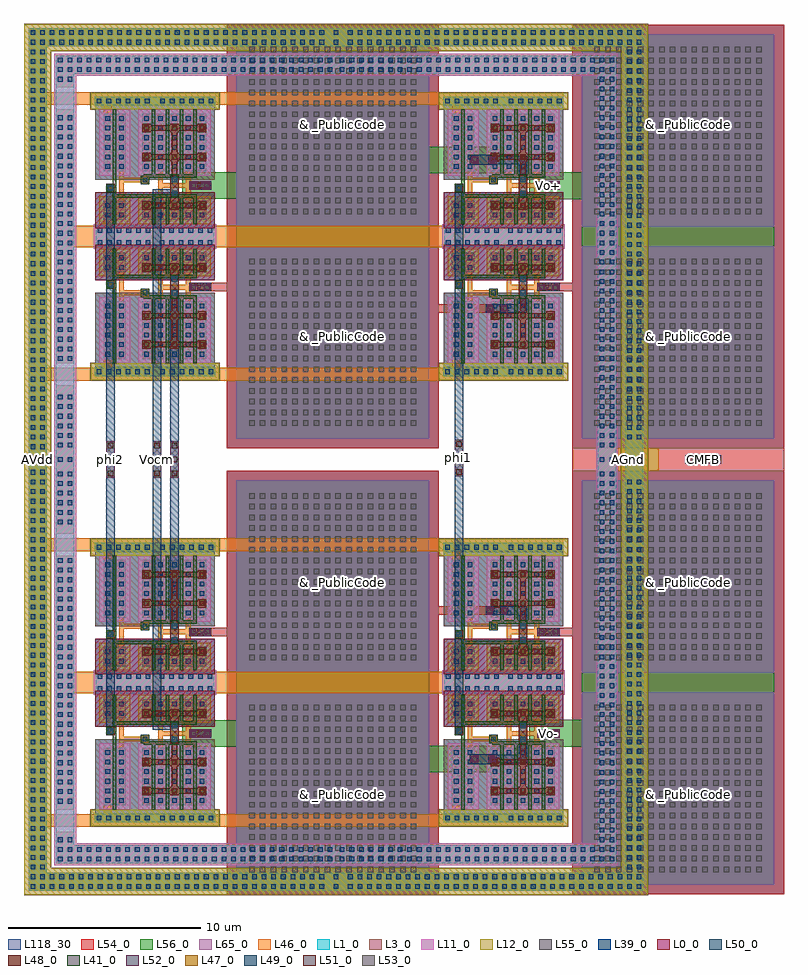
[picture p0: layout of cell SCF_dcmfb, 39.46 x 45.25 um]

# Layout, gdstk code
import gdstk
lib = gdstk.Library(unit=1e-6, precision=1e-09)
def R(c, l, rs):  # rectangles x0, y0, x1, y1
    for r in rs: c.add(gdstk.rectangle(r[:2], r[2:], *l))
def A(c, l, x, y, w, h, nx, ny, dx, dy):  # array of equal rectangles
    R(c, l, [(x+i*dx, y+j*dy, x+i*dx+w, y+j*dy+h) for i in range(nx) for j in range(ny)])
def P(c, l, *ps):  # polygons
    for p in ps: c.add(gdstk.Polygon(p, *l))
L0_0 = (0, 0)
L1_0 = (1, 0)
L3_0 = (3, 0)
L11_0 = (11, 0)
L12_0 = (12, 0)
L39_0 = (39, 0)
L41_0 = (41, 0)
L46_0 = (46, 0)
L47_0 = (47, 0)
L48_0 = (48, 0)
L49_0 = (49, 0)
L50_0 = (50, 0)
L51_0 = (51, 0)
L52_0 = (52, 0)
L53_0 = (53, 0)
L54_0 = (54, 0)
L55_0 = (55, 0)
L56_0 = (56, 0)
L65_0 = (65, 0)
L118_30 = (118, 30)

m1m2 = lib.new_cell('M1M2')
R(m1m2, L46_0, [(-0.22,-0.22,0.22,0.22)])
R(m1m2, L47_0, [(-0.14,-0.14,0.14,0.14)])
R(m1m2, L48_0, [(-0.22,-0.22,0.22,0.22)])

mpoly = lib.new_cell('MPOLY')
R(mpoly, L39_0, [(-0.12,-0.12,0.12,0.12)])
R(mpoly, L41_0, [(-0.22,-0.22,0.22,0.22)])
R(mpoly, L46_0, [(-0.2,-0.2,0.2,0.2)])

m2m3 = lib.new_cell('M2M3')
R(m2m3, L48_0, [(-0.22,-0.22,0.22,0.22)])
R(m2m3, L49_0, [(-0.14,-0.14,0.14,0.14)])
R(m2m3, L50_0, [(-0.22,-0.22,0.22,0.22)])

switch_x4 = lib.new_cell('switch_X4')
R(switch_x4, L0_0, [(-0.46,-1.87,1.56,-0.01), (1.56,-1.87,5.74,-0.01)])
R(switch_x4, L1_0, [(-0.44,-2.2,5.72,-1.76), (-0.03,-1.44,1.13,-0.44), (-0.03,-1.44,0.46,-0.44), (0.64,-1.44,1.13,-0.44), (1.99,-1.44,2.48,-0.44), (1.99,-1.44,5.31,-0.44), (4.82,-1.44,5.31,-0.44), (-0.03,1.07,0.46,4.07), (-0.03,1.07,1.13,4.07), (0.64,1.07,1.13,4.07), (1.99,1.07,5.31,4.07), (1.99,1.07,2.48,4.07), (4.82,1.07,5.31,4.07), (-0.48,4.51,5.76,4.95)])
R(switch_x4, L3_0, [(-0.46,0.64,1.56,4.5), (1.56,0.64,5.74,4.5), (-0.72,4.27,6,5.19)])
R(switch_x4, L11_0, [(-0.54,-2.3,5.82,-1.66), (-0.25,0.85,1.35,4.29), (1.77,0.85,5.53,4.29)])
R(switch_x4, L12_0, [(-0.25,-1.66,1.35,-0.22), (1.77,-1.66,5.53,-0.22), (-0.7,4.29,5.98,5.17)])
A(switch_x4, L39_0, -0.34, -2.1, 0.24, 0.24, 6, 1, 0.5, 0)
A(switch_x4, L39_0, 2.88, -2.1, 0.24, 0.24, 6, 1, 0.5, 0)
A(switch_x4, L39_0, 2.09, -1.31, 0.24, 0.24, 5, 2, 0.72, 0.5)
A(switch_x4, L39_0, 0.07, 1.2, 0.24, 0.24, 1, 6, 0, 0.5)
A(switch_x4, L39_0, 0.79, 1.2, 0.24, 0.24, 1, 6, 0, 0.5)
A(switch_x4, L39_0, 2.09, 1.2, 0.24, 0.24, 5, 6, 0.72, 0.5)
A(switch_x4, L39_0, -0.38, 4.61, 0.24, 0.24, 6, 1, 0.5, 0)
A(switch_x4, L39_0, 2.92, 4.61, 0.24, 0.24, 6, 1, 0.5, 0)
R(switch_x4, L39_0, [(0.07,-1.31,0.31,-1.07), (0.79,-1.31,1.03,-1.07), (0.07,-0.81,0.31,-0.57), (0.79,-0.81,1.03,-0.57)])
A(switch_x4, L41_0, 2.48, -1.66, 0.18, 0.22, 4, 2, 0.72, 1.22)
A(switch_x4, L41_0, 2.48, -1.44, 0.18, 1, 4, 1, 0.72, 0)
A(switch_x4, L41_0, 2.48, 0.85, 0.18, 0.22, 4, 2, 0.72, 3.22)
A(switch_x4, L41_0, 2.48, 1.07, 0.18, 3, 4, 1, 0.72, 0)
R(switch_x4, L41_0, [(0.46,-1.66,0.64,-1.44), (0.46,-1.44,0.64,-0.44), (0.46,-0.44,0.64,-0.22), (0.46,-0.4,0.64,-0.12), (0.46,-0.3,2.66,-0.12), (0.46,-0.3,0.64,1.03), (0.46,0.85,0.64,1.07), (0.46,1.07,0.64,4.07), (0.46,4.07,0.64,4.29)])
P(switch_x4, L41_0, [(3.92,-0.3),(4.64,-0.3),(4.64,-0.4),(4.82,-0.4),(4.82,-0.12),(3.92,-0.12)],
  [(2.48,0.75),(3.38,0.75),(3.38,1.03),(3.2,1.03),(3.2,0.93),(2.66,0.93),(2.66,1.03),(2.48,1.03)],
  [(3.2,0.75),(4.1,0.75),(4.1,1.03),(3.92,1.03),(3.92,0.93),(3.2,0.93)],
  [(3.92,0.75),(4.82,0.75),(4.82,1.03),(4.64,1.03),(4.64,0.93),(3.92,0.93)],
  [(2.48,-0.4),(2.66,-0.4),(2.66,-0.3),(3.2,-0.3),(3.2,-0.4),(3.38,-0.4),(3.38,-0.12),(2.48,-0.12)],
  [(3.2,-0.3),(3.92,-0.3),(3.92,-0.4),(4.1,-0.4),(4.1,-0.12),(3.2,-0.12)],
  [(2.03,0.54),(2.24,0.54),(2.24,0.75),(2.66,0.75),(2.66,0.93),(2.06,0.93),(2.06,0.72),(2.03,0.72)])
A(switch_x4, L46_0, 2.01, -1.39, 0.4, 0.9, 5, 1, 0.72, 0)
A(switch_x4, L46_0, 2.01, 1.12, 0.4, 2.9, 5, 1, 0.72, 0)
R(switch_x4, L46_0, [(-0.46,-2.3,5.74,-1.74), (-0.46,-2.22,5.74,-1.74), (-0.01,-2.14,0.39,-0.99), (-0.01,-1.39,0.39,-0.49), (0.71,-1.39,1.11,-0.49), (0.79,-0.73,1.03,0.75), (2.81,-0.73,3.05,0.46), (4.25,-0.73,4.49,0.46), (2.81,0.22,3.05,1.36), (2.81,0.22,4.49,0.46), (4.25,0.22,4.75,0.46), (4.25,0.22,4.49,1.36), (0.79,0.51,2.24,0.75), (0.79,0.51,1.03,1.36), (-0.01,1.12,0.39,4.02), (0.71,1.12,1.11,4.02), (-0.01,3.62,0.39,4.93), (-0.46,4.53,5.74,4.93), (-0.46,4.53,5.74,5.19)])
R(switch_x4, L48_0, [(2.07,-0.83,3.79,-0.55), (3.51,-0.83,5.23,-0.55), (3.51,-0.83,3.79,1.96), (3.43,-0.47,3.51,-0.3), (3.79,-0.47,3.87,-0.3), (3.43,0.14,3.87,0.42), (4.49,0.2,5.49,0.48), (2.07,1.68,3.79,1.96), (3.51,1.68,5.23,1.96), (3.51,1.68,3.79,3.46), (2.07,3.18,3.79,3.46), (3.51,3.18,5.23,3.46)])
R(switch_x4, L50_0, [(3.43,-0.3,3.87,0.86), (0.11,-0.01,0.55,0.43), (4.41,0.12,5.57,0.56)])
R(switch_x4, L118_30, [(-0.46,-1.87,1.56,-0.01), (1.56,-1.87,5.74,-0.01), (-0.46,0.64,1.56,4.5), (1.56,0.64,5.74,4.5)])
switch_x4.add(gdstk.Reference(m1m2, (3.65,1.82)))
switch_x4.add(gdstk.Reference(m1m2, (2.21,1.82)))
switch_x4.add(gdstk.Reference(m1m2, (5.09,1.82)))
switch_x4.add(gdstk.Reference(m1m2, (3.65,3.32)))
switch_x4.add(gdstk.Reference(mpoly, (2.12,0.63)))
switch_x4.add(gdstk.Reference(m1m2, (2.21,-0.69)))
switch_x4.add(gdstk.Reference(m1m2, (3.65,-0.69)))
switch_x4.add(gdstk.Reference(m1m2, (5.09,-0.69)))
switch_x4.add(gdstk.Reference(m1m2, (2.21,3.32)))
switch_x4.add(gdstk.Reference(m1m2, (5.09,3.32)))
switch_x4.add(gdstk.Reference(mpoly, (0.33,0.21)))
switch_x4.add(gdstk.Reference(m2m3, (0.33,0.21)))
switch_x4.add(gdstk.Reference(m1m2, (0.33,0.21)))
switch_x4.add(gdstk.Reference(m2m3, (3.65,0.64)))
switch_x4.add(gdstk.Reference(m2m3, (3.65,-0.08)))
switch_x4.add(gdstk.Reference(m1m2, (4.63,0.34)))
switch_x4.add(gdstk.Reference(m2m3, (4.63,0.34)))
switch_x4.add(gdstk.Reference(m2m3, (5.35,0.34)))
switch_x4.add(gdstk.Label('/M12', (2.57,2.57), layer=85, texttype=0))
switch_x4.add(gdstk.Label('/M12', (3.29,2.57), layer=85, texttype=0))
switch_x4.add(gdstk.Label('/M12', (4.01,2.57), layer=85, texttype=0))
switch_x4.add(gdstk.Label('/M12', (4.73,2.57), layer=85, texttype=0))
switch_x4.add(gdstk.Label('& Vendor Mentor', (1.99,1.07), layer=63, texttype=63))
switch_x4.add(gdstk.Label('& Product UMC180FDKMFM', (1.99,1.07), layer=63, texttype=63))
switch_x4.add(gdstk.Label('& Version A01', (1.99,1.07), layer=63, texttype=63))
switch_x4.add(gdstk.Label('& Metric 0', (1.99,1.07), layer=63, texttype=63))
switch_x4.add(gdstk.Label('& _PublicCode', (1.99,1.07), layer=63, texttype=63))
switch_x4.add(gdstk.Label('/M2', (0.55,2.57), layer=85, texttype=0))
switch_x4.add(gdstk.Label('& Vendor Mentor', (-0.03,1.07), layer=63, texttype=63))
switch_x4.add(gdstk.Label('& Product UMC180FDKMFM', (-0.03,1.07), layer=63, texttype=63))
switch_x4.add(gdstk.Label('& Version A01', (-0.03,1.07), layer=63, texttype=63))
switch_x4.add(gdstk.Label('& Metric 0', (-0.03,1.07), layer=63, texttype=63))
switch_x4.add(gdstk.Label('& _PublicCode', (-0.03,1.07), layer=63, texttype=63))
switch_x4.add(gdstk.Label('& _PublicCode', (-0.03,-1.44), layer=63, texttype=63))
switch_x4.add(gdstk.Label('/M1', (0.55,-0.94), layer=85, texttype=0))
switch_x4.add(gdstk.Label('& Vendor Mentor', (-0.03,-1.44), layer=63, texttype=63))
switch_x4.add(gdstk.Label('& Product UMC180FDKMFM', (-0.03,-1.44), layer=63, texttype=63))
switch_x4.add(gdstk.Label('& Version A01', (-0.03,-1.44), layer=63, texttype=63))
switch_x4.add(gdstk.Label('& Metric 0', (-0.03,-1.44), layer=63, texttype=63))
switch_x4.add(gdstk.Label('/M11', (2.57,-0.94), layer=85, texttype=0))
switch_x4.add(gdstk.Label('/M11', (3.29,-0.94), layer=85, texttype=0))
switch_x4.add(gdstk.Label('/M11', (4.01,-0.94), layer=85, texttype=0))
switch_x4.add(gdstk.Label('/M11', (4.73,-0.94), layer=85, texttype=0))
switch_x4.add(gdstk.Label('& Vendor Mentor', (1.99,-1.44), layer=63, texttype=63))
switch_x4.add(gdstk.Label('& Product UMC180FDKMFM', (1.99,-1.44), layer=63, texttype=63))
switch_x4.add(gdstk.Label('& Version A01', (1.99,-1.44), layer=63, texttype=63))
switch_x4.add(gdstk.Label('& Metric 0', (1.99,-1.44), layer=63, texttype=63))
switch_x4.add(gdstk.Label('& _PublicCode', (1.99,-1.44), layer=63, texttype=63))
switch_x4.add(gdstk.Label('VSS', (2.64,-2.02), layer=101, texttype=0))
switch_x4.add(gdstk.Label('VDD', (2.64,4.86), layer=101, texttype=0))
switch_x4.add(gdstk.Label('e', (0.33,0.21), layer=103, texttype=0))
switch_x4.add(gdstk.Label('out', (4.99,0.34), layer=103, texttype=0))
switch_x4.add(gdstk.Label('in', (3.65,0.28), layer=103, texttype=0))

m3m4 = lib.new_cell('M3M4')
R(m3m4, L50_0, [(-0.22,-0.22,0.22,0.22)])
R(m3m4, L51_0, [(-0.14,-0.14,0.14,0.14)])
R(m3m4, L52_0, [(-0.22,-0.22,0.22,0.22)])

m4m5 = lib.new_cell('M4M5')
R(m4m5, L52_0, [(-0.22,-0.22,0.22,0.22)])
R(m4m5, L53_0, [(-0.14,-0.14,0.14,0.14)])
R(m4m5, L54_0, [(-0.22,-0.22,0.22,0.22)])

m5m6 = lib.new_cell('M5M6')
R(m5m6, L54_0, [(-0.22,-0.22,0.22,0.22)])
R(m5m6, L55_0, [(-0.14,-0.14,0.14,0.14)])
R(m5m6, L56_0, [(-0.26,-0.26,0.26,0.26)])

scf_dcmfb = lib.new_cell('SCF_dcmfb')
R(scf_dcmfb, L1_0, [(25.14,-35.25,31.3,-35.05), (43.23,-35.25,49.39,-35.05), (25.14,-12.08,31.3,-11.88), (43.23,-12.08,49.39,-11.88)])
P(scf_dcmfb, L1_0, [(52.16,-44.53),(52.16,-3.54),(51.22,-3.54),(51.22,-43.59),(24.02,-43.59),(24.02,-3.54),(52.16,-3.54),(52.16,-2.6),(23.08,-2.6),(23.08,-44.53)],
  [(53.58,-45.95),(53.58,-2.12),(52.64,-2.12),(52.64,-45.01),(22.6,-45.01),(22.6,-2.12),(53.58,-2.12),(53.58,-1.18),(21.66,-1.18),(21.66,-45.95)])
P(scf_dcmfb, L3_0, [(53.82,-46.19),(53.82,-2.36),(52.4,-2.36),(52.4,-44.77),(22.84,-44.77),(22.84,-2.36),(53.82,-2.36),(53.82,-0.94),(21.42,-0.94),(21.42,-46.19)])
P(scf_dcmfb, L11_0, [(52.26,-44.63),(52.26,-3.64),(51.12,-3.64),(51.12,-43.49),(24.12,-43.49),(24.12,-3.64),(52.26,-3.64),(52.26,-2.5),(22.98,-2.5),(22.98,-44.63)])
P(scf_dcmfb, L12_0, [(53.8,-46.17),(53.8,-2.34),(52.42,-2.34),(52.42,-44.79),(22.82,-44.79),(22.82,-2.34),(53.8,-2.34),(53.8,-0.96),(21.44,-0.96),(21.44,-46.17)])
A(scf_dcmfb, L39_0, 21.76, -45.85, 0.24, 0.24, 31, 2, 0.5, 0.5)
A(scf_dcmfb, L39_0, 38.24, -45.85, 0.24, 0.24, 31, 2, 0.5, 0.5)
A(scf_dcmfb, L39_0, 21.76, -44.85, 0.24, 0.24, 1, 42, 0, 0.5)
A(scf_dcmfb, L39_0, 22.26, -44.85, 0.24, 0.24, 1, 42, 0, 0.5)
A(scf_dcmfb, L39_0, 52.74, -44.85, 0.24, 0.24, 1, 41, 0, 0.5)
A(scf_dcmfb, L39_0, 53.24, -44.85, 0.24, 0.24, 1, 41, 0, 0.5)
A(scf_dcmfb, L39_0, 23.18, -44.43, 0.24, 0.24, 29, 2, 0.5, 0.5)
A(scf_dcmfb, L39_0, 37.82, -44.43, 0.24, 0.24, 29, 2, 0.5, 0.5)
A(scf_dcmfb, L39_0, 51.32, -43.43, 0.24, 0.24, 1, 39, 0, 0.5)
A(scf_dcmfb, L39_0, 51.82, -43.43, 0.24, 0.24, 1, 39, 0, 0.5)
A(scf_dcmfb, L39_0, 23.18, -41.43, 0.24, 0.24, 1, 26, 0, 0.5)
A(scf_dcmfb, L39_0, 23.68, -41.43, 0.24, 0.24, 1, 26, 0, 0.5)
A(scf_dcmfb, L39_0, 23.18, -26.93, 0.24, 0.24, 1, 6, 0, 0.5)
A(scf_dcmfb, L39_0, 23.68, -26.93, 0.24, 0.24, 1, 6, 0, 0.5)
A(scf_dcmfb, L39_0, 21.76, -23.02, 0.24, 0.24, 1, 42, 0, 0.5)
A(scf_dcmfb, L39_0, 22.26, -23.02, 0.24, 0.24, 1, 42, 0, 0.5)
A(scf_dcmfb, L39_0, 23.18, -22.94, 0.24, 0.24, 1, 6, 0, 0.5)
A(scf_dcmfb, L39_0, 23.68, -22.94, 0.24, 0.24, 1, 6, 0, 0.5)
A(scf_dcmfb, L39_0, 51.32, -22.94, 0.24, 0.24, 1, 39, 0, 0.5)
A(scf_dcmfb, L39_0, 51.82, -22.94, 0.24, 0.24, 1, 39, 0, 0.5)
A(scf_dcmfb, L39_0, 52.74, -22.52, 0.24, 0.24, 1, 41, 0, 0.5)
A(scf_dcmfb, L39_0, 53.24, -22.52, 0.24, 0.24, 1, 41, 0, 0.5)
A(scf_dcmfb, L39_0, 23.18, -18.44, 0.24, 0.24, 1, 26, 0, 0.5)
A(scf_dcmfb, L39_0, 23.68, -18.44, 0.24, 0.24, 1, 26, 0, 0.5)
A(scf_dcmfb, L39_0, 23.18, -3.44, 0.24, 0.24, 29, 2, 0.5, 0.5)
A(scf_dcmfb, L39_0, 37.82, -3.44, 0.24, 0.24, 29, 2, 0.5, 0.5)
A(scf_dcmfb, L39_0, 21.76, -2.02, 0.24, 0.24, 31, 2, 0.5, 0.5)
A(scf_dcmfb, L39_0, 38.24, -2.02, 0.24, 0.24, 31, 2, 0.5, 0.5)
R(scf_dcmfb, L39_0, [(37.5,-45.85,37.74,-45.61), (37.5,-45.35,37.74,-45.11), (23.18,-43.43,23.42,-43.19), (23.68,-43.43,23.92,-43.19), (21.76,-23.69,22,-23.45), (22.26,-23.69,22.5,-23.45), (23.18,-23.69,23.42,-23.45), (23.68,-23.69,23.92,-23.45), (51.32,-23.69,51.56,-23.45), (51.82,-23.69,52.06,-23.45), (23.18,-3.94,23.42,-3.7), (23.68,-3.94,23.92,-3.7), (37.5,-2.02,37.74,-1.78), (37.5,-1.52,37.74,-1.28)])
R(scf_dcmfb, L46_0, [(21.68,-45.93,22.58,-1.2), (22.13,-42.64,25.78,-41.98), (31.32,-42.64,43.21,-41.98), (23.06,-41.74,24.04,-28.56), (23.47,-35.71,25.57,-34.59), (25.12,-35.71,49.41,-34.59), (31.32,-35.71,43.21,-34.59), (22.02,-28.32,25.78,-27.66), (31.32,-28.32,43.21,-27.66), (23.06,-27.42,24.04,-19.71), (51.2,-24.15,54.38,-22.98), (22.05,-19.47,25.78,-18.81), (31.32,-19.47,43.21,-18.81), (23.06,-18.57,24.04,-5.39), (23.58,-12.54,25.68,-11.42), (25.12,-12.54,49.41,-11.42), (31.32,-12.54,43.21,-11.42), (21.98,-5.15,25.78,-4.49), (31.32,-5.15,43.21,-4.49)])
P(scf_dcmfb, L46_0, [(52.18,-44.55),(52.18,-2.58),(23.06,-2.58),(23.06,-4.25),(24.04,-4.25),(24.04,-3.56),(51.2,-3.56),(51.2,-43.57),(24.04,-43.57),(24.04,-42.88),(23.06,-42.88),(23.06,-44.55)],
  [(53.56,-45.93),(53.56,-24.39),(52.66,-24.39),(52.66,-45.03),(22.58,-45.03),(22.58,-2.1),(52.66,-2.1),(52.66,-22.74),(53.56,-22.74),(53.56,-1.2),(21.68,-1.2),(21.68,-45.93)])
R(scf_dcmfb, L50_0, [(44.56,-39.38,45.96,-38.86), (25.69,-37.88,26.13,-32.42), (43.78,-37.88,44.22,-32.42), (25.69,-32.86,26.13,-9.25), (43.78,-32.86,44.22,-9.25), (29.01,-32.43,29.45,-14.7), (45.39,-31.62,46.57,-31.18), (45.39,-15.95,46.57,-15.51), (44.56,-8.27,45.96,-7.75)])
P(scf_dcmfb, L50_0, [(28.1,-37.59),(29.45,-37.59),(29.45,-37.15),(28.54,-37.15),(28.54,-9.98),(29.45,-9.98),(29.45,-9.54),(28.1,-9.54)],
  [(45.52,-8.23),(47.1,-8.23),(47.1,-9.26),(47.54,-9.26),(47.54,-7.79),(45.52,-7.79)],
  [(46.13,-15.95),(47.54,-15.95),(47.54,-14.7),(47.1,-14.7),(47.1,-15.51),(46.13,-15.51)],
  [(45.52,-39.34),(47.54,-39.34),(47.54,-37.87),(47.1,-37.87),(47.1,-38.9),(45.52,-38.9)],
  [(46.13,-31.62),(47.1,-31.62),(47.1,-32.43),(47.54,-32.43),(47.54,-31.18),(46.13,-31.18)])
R(scf_dcmfb, L52_0, [(29.99,-38.01,31.15,-37.57), (48.08,-38.01,49.24,-37.57), (29.99,-32.73,31.15,-32.29), (48.08,-32.73,49.24,-32.29), (25.69,-24.51,26.13,-22.62), (28.1,-24.51,28.54,-22.62), (29.01,-24.51,29.45,-22.62), (43.78,-24.43,44.22,-22.54), (55.75,-23.79,57.63,-23.35), (29.99,-14.84,31.15,-14.4), (48.08,-14.84,49.24,-14.4), (29.99,-9.56,31.15,-9.12), (48.08,-9.56,49.24,-9.12)])
R(scf_dcmfb, L54_0, [(31.95,-46.15,42.95,-35.15), (31.95,-46.15,42.95,-35.15), (49.88,-46.15,60.88,-35.15), (49.88,-46.15,60.88,-35.15), (29.99,-38.01,31.15,-37.57), (48.08,-38.01,49.24,-37.57), (31.95,-35.15,42.95,-24.15), (31.95,-35.15,42.95,-24.15), (49.88,-35.15,60.88,-24.15), (49.88,-35.15,60.88,-24.15), (29.99,-32.73,31.15,-32.29), (30.71,-32.73,32.39,-32.29), (48.08,-32.73,49.24,-32.29), (48.8,-32.73,50.32,-32.29), (42.51,-31.62,45.83,-31.18), (45.39,-31.62,46.57,-31.18), (49.88,-24.15,60.88,-22.98), (31.95,-22.98,42.95,-11.98), (31.95,-22.98,42.95,-11.98), (49.88,-22.98,60.88,-11.98), (49.88,-22.98,60.88,-11.98), (42.51,-15.95,45.83,-15.51), (45.39,-15.95,46.57,-15.51), (29.99,-14.84,31.15,-14.4), (30.71,-14.84,32.39,-14.4), (48.08,-14.84,49.24,-14.4), (48.8,-14.84,50.32,-14.4), (31.95,-11.98,42.95,-0.98), (31.95,-11.98,42.95,-0.98), (49.88,-11.98,60.88,-0.98), (49.88,-11.98,60.88,-0.98), (29.99,-9.56,31.15,-9.12), (48.08,-9.56,49.24,-9.12)])
A(scf_dcmfb, L55_0, 33.11, -44.99, 0.28, 0.28, 16, 16, 0.56, 0.56)
A(scf_dcmfb, L55_0, 51.04, -44.99, 0.28, 0.28, 16, 16, 0.56, 0.56)
A(scf_dcmfb, L55_0, 33.11, -33.99, 0.28, 0.28, 16, 16, 0.56, 0.56)
A(scf_dcmfb, L55_0, 51.04, -33.99, 0.28, 0.28, 16, 16, 0.56, 0.56)
A(scf_dcmfb, L55_0, 33.11, -21.82, 0.28, 0.28, 16, 16, 0.56, 0.56)
A(scf_dcmfb, L55_0, 51.04, -21.82, 0.28, 0.28, 16, 16, 0.56, 0.56)
A(scf_dcmfb, L55_0, 33.11, -10.82, 0.28, 0.28, 16, 16, 0.56, 0.56)
A(scf_dcmfb, L55_0, 51.04, -10.82, 0.28, 0.28, 16, 16, 0.56, 0.56)
R(scf_dcmfb, L56_0, [(32.45,-45.65,42.45,-35.65), (50.38,-45.65,60.38,-35.65), (32.95,-45.15,41.95,-36.15), (50.88,-45.15,59.88,-36.15), (42.41,-39.81,46.42,-38.42), (29.63,-38.49,32.58,-37.1), (47.65,-38.48,50.6,-37.09), (32.45,-35.65,42.45,-34.65), (50.38,-35.65,60.38,-34.65), (32.45,-34.65,42.45,-24.65), (50.38,-34.65,60.38,-24.65), (32.95,-34.15,41.95,-25.15), (50.88,-34.15,59.88,-25.15), (32.45,-22.48,42.45,-12.48), (50.38,-22.48,60.38,-12.48), (32.95,-21.98,41.95,-12.98), (50.88,-21.98,59.88,-12.98), (32.45,-12.48,42.45,-11.48), (50.38,-12.48,60.38,-11.48), (32.45,-11.48,42.45,-1.48), (50.38,-11.48,60.38,-1.48), (32.95,-10.98,41.95,-1.98), (50.88,-10.98,59.88,-1.98), (47.65,-10.04,50.6,-8.65), (29.63,-10.03,32.58,-8.64), (42.41,-8.71,46.42,-7.32)])
R(scf_dcmfb, L65_0, [(32.45,-45.65,42.45,-35.65), (50.38,-45.65,60.38,-35.65), (32.45,-34.65,42.45,-24.65), (50.38,-34.65,60.38,-24.65), (32.45,-22.48,42.45,-12.48), (50.38,-22.48,60.38,-12.48), (32.45,-11.48,42.45,-1.48), (50.38,-11.48,60.38,-1.48)])
R(scf_dcmfb, L118_30, [(31.95,-46.15,42.95,-35.15), (31.95,-46.15,42.95,-35.15), (49.88,-46.15,60.88,-35.15), (49.88,-46.15,60.88,-35.15), (31.95,-35.15,42.95,-24.15), (31.95,-35.15,42.95,-24.15), (49.88,-35.15,60.88,-24.15), (49.88,-35.15,60.88,-24.15), (31.95,-22.98,42.95,-11.98), (31.95,-22.98,42.95,-11.98), (49.88,-22.98,60.88,-11.98), (49.88,-22.98,60.88,-11.98), (31.95,-11.98,42.95,-0.98), (31.95,-11.98,42.95,-0.98), (49.88,-11.98,60.88,-0.98), (49.88,-11.98,60.88,-0.98)])
scf_dcmfb.add(gdstk.Reference(switch_x4, (25.58,-9.68)))
scf_dcmfb.add(gdstk.Reference(switch_x4, (25.58,-14.28), x_reflection=True))
scf_dcmfb.add(gdstk.Reference(switch_x4, (43.67,-9.68)))
scf_dcmfb.add(gdstk.Reference(switch_x4, (43.67,-14.28), x_reflection=True))
scf_dcmfb.add(gdstk.Reference(switch_x4, (25.58,-37.45), x_reflection=True))
scf_dcmfb.add(gdstk.Reference(switch_x4, (25.58,-32.85)))
scf_dcmfb.add(gdstk.Reference(switch_x4, (43.67,-37.45), x_reflection=True))
scf_dcmfb.add(gdstk.Reference(switch_x4, (43.67,-32.85)))
scf_dcmfb.add(gdstk.Reference(m3m4, (30.21,-9.34)))
scf_dcmfb.add(gdstk.Reference(m3m4, (30.93,-9.34)))
scf_dcmfb.add(gdstk.Reference(m4m5, (30.21,-9.34)))
scf_dcmfb.add(gdstk.Reference(m4m5, (30.93,-9.34)))
scf_dcmfb.add(gdstk.Reference(m5m6, (30.93,-9.34)))
scf_dcmfb.add(gdstk.Reference(m5m6, (30.21,-9.34)))
scf_dcmfb.add(gdstk.Reference(m3m4, (30.21,-14.62)))
scf_dcmfb.add(gdstk.Reference(m3m4, (30.93,-14.62)))
scf_dcmfb.add(gdstk.Reference(m4m5, (30.21,-14.62)))
scf_dcmfb.add(gdstk.Reference(m4m5, (30.93,-14.62)))
scf_dcmfb.add(gdstk.Reference(m5m6, (45.74,-8.01)))
scf_dcmfb.add(gdstk.Reference(m3m4, (45.74,-8.01)))
scf_dcmfb.add(gdstk.Reference(m5m6, (48.3,-9.34)))
scf_dcmfb.add(gdstk.Reference(m4m5, (45.74,-8.01)))
scf_dcmfb.add(gdstk.Reference(m3m4, (44.78,-8.01)))
scf_dcmfb.add(gdstk.Reference(m4m5, (44.78,-8.01)))
scf_dcmfb.add(gdstk.Reference(m3m4, (49.02,-9.34)))
scf_dcmfb.add(gdstk.Reference(m4m5, (49.02,-9.34)))
scf_dcmfb.add(gdstk.Reference(m5m6, (49.02,-9.34)))
scf_dcmfb.add(gdstk.Reference(m3m4, (48.3,-9.34)))
scf_dcmfb.add(gdstk.Reference(m4m5, (48.3,-9.34)))
scf_dcmfb.add(gdstk.Reference(m5m6, (44.78,-8.01)))
scf_dcmfb.add(gdstk.Reference(m3m4, (46.35,-15.73)))
scf_dcmfb.add(gdstk.Reference(m4m5, (46.35,-15.73)))
scf_dcmfb.add(gdstk.Reference(m3m4, (45.61,-15.73)))
scf_dcmfb.add(gdstk.Reference(m4m5, (45.61,-15.73)))
scf_dcmfb.add(gdstk.Reference(m3m4, (48.3,-14.62)))
scf_dcmfb.add(gdstk.Reference(m3m4, (49.02,-14.62)))
scf_dcmfb.add(gdstk.Reference(m4m5, (48.3,-14.62)))
scf_dcmfb.add(gdstk.Reference(m4m5, (49.02,-14.62)))
scf_dcmfb.add(gdstk.Reference(m3m4, (30.21,-32.51), x_reflection=True))
scf_dcmfb.add(gdstk.Reference(m3m4, (30.93,-32.51), x_reflection=True))
scf_dcmfb.add(gdstk.Reference(m3m4, (49.02,-32.51), x_reflection=True))
scf_dcmfb.add(gdstk.Reference(m4m5, (30.93,-32.51), x_reflection=True))
scf_dcmfb.add(gdstk.Reference(m5m6, (45.74,-39.12), x_reflection=True))
scf_dcmfb.add(gdstk.Reference(m3m4, (45.74,-39.12), x_reflection=True))
scf_dcmfb.add(gdstk.Reference(m4m5, (49.02,-32.51), x_reflection=True))
scf_dcmfb.add(gdstk.Reference(m4m5, (45.74,-39.12), x_reflection=True))
scf_dcmfb.add(gdstk.Reference(m3m4, (44.78,-39.12), x_reflection=True))
scf_dcmfb.add(gdstk.Reference(m4m5, (44.78,-39.12), x_reflection=True))
scf_dcmfb.add(gdstk.Reference(m3m4, (49.02,-37.79), x_reflection=True))
scf_dcmfb.add(gdstk.Reference(m4m5, (49.02,-37.79), x_reflection=True))
scf_dcmfb.add(gdstk.Reference(m5m6, (49.02,-37.79), x_reflection=True))
scf_dcmfb.add(gdstk.Reference(m3m4, (48.3,-37.79), x_reflection=True))
scf_dcmfb.add(gdstk.Reference(m4m5, (48.3,-37.79), x_reflection=True))
scf_dcmfb.add(gdstk.Reference(m5m6, (30.21,-37.79), x_reflection=True))
scf_dcmfb.add(gdstk.Reference(m5m6, (44.78,-39.12), x_reflection=True))
scf_dcmfb.add(gdstk.Reference(m3m4, (46.35,-31.4), x_reflection=True))
scf_dcmfb.add(gdstk.Reference(m4m5, (30.21,-32.51), x_reflection=True))
scf_dcmfb.add(gdstk.Reference(m3m4, (45.61,-31.4), x_reflection=True))
scf_dcmfb.add(gdstk.Reference(m4m5, (45.61,-31.4), x_reflection=True))
scf_dcmfb.add(gdstk.Reference(m3m4, (48.3,-32.51), x_reflection=True))
scf_dcmfb.add(gdstk.Reference(m5m6, (48.3,-37.79), x_reflection=True))
scf_dcmfb.add(gdstk.Reference(m4m5, (48.3,-32.51), x_reflection=True))
scf_dcmfb.add(gdstk.Reference(m3m4, (30.21,-37.79), x_reflection=True))
scf_dcmfb.add(gdstk.Reference(m3m4, (30.93,-37.79), x_reflection=True))
scf_dcmfb.add(gdstk.Reference(m4m5, (30.21,-37.79), x_reflection=True))
scf_dcmfb.add(gdstk.Reference(m4m5, (30.93,-37.79), x_reflection=True))
scf_dcmfb.add(gdstk.Reference(m5m6, (30.93,-37.79), x_reflection=True))
scf_dcmfb.add(gdstk.Reference(m4m5, (46.35,-31.4), x_reflection=True))
scf_dcmfb.add(gdstk.Reference(m3m4, (44,-23.48)))
scf_dcmfb.add(gdstk.Reference(m3m4, (44,-22.76)))
scf_dcmfb.add(gdstk.Reference(m3m4, (44,-24.21)))
scf_dcmfb.add(gdstk.Reference(m3m4, (25.91,-24.29)))
scf_dcmfb.add(gdstk.Reference(m3m4, (25.91,-23.56)))
scf_dcmfb.add(gdstk.Reference(m3m4, (25.91,-22.84)))
scf_dcmfb.add(gdstk.Reference(m4m5, (55.97,-23.57)))
scf_dcmfb.add(gdstk.Reference(m4m5, (56.69,-23.57)))
scf_dcmfb.add(gdstk.Reference(m4m5, (57.41,-23.57)))
scf_dcmfb.add(gdstk.Reference(m3m4, (29.23,-24.29)))
scf_dcmfb.add(gdstk.Reference(m3m4, (29.23,-23.56)))
scf_dcmfb.add(gdstk.Reference(m3m4, (29.23,-22.84)))
scf_dcmfb.add(gdstk.Reference(m3m4, (28.32,-24.29)))
scf_dcmfb.add(gdstk.Reference(m3m4, (28.32,-23.56)))
scf_dcmfb.add(gdstk.Reference(m3m4, (28.32,-22.84)))
scf_dcmfb.add(gdstk.Label('& _PublicCode', (37.98,-17.18), layer=63, texttype=63))
scf_dcmfb.add(gdstk.Label('& Vendor Mentor', (37.98,-17.18), layer=63, texttype=63))
scf_dcmfb.add(gdstk.Label('& Product UMC180FDKMFM', (37.98,-17.18), layer=63, texttype=63))
scf_dcmfb.add(gdstk.Label('& Version A01', (37.98,-17.18), layer=63, texttype=63))
scf_dcmfb.add(gdstk.Label('& Metric 0', (37.98,-17.18), layer=63, texttype=63))
scf_dcmfb.add(gdstk.Label('& _PublicCode', (55.91,-6.18), layer=63, texttype=63))
scf_dcmfb.add(gdstk.Label('& Vendor Mentor', (55.91,-6.18), layer=63, texttype=63))
scf_dcmfb.add(gdstk.Label('& Product UMC180FDKMFM', (55.91,-6.18), layer=63, texttype=63))
scf_dcmfb.add(gdstk.Label('& Version A01', (55.91,-6.18), layer=63, texttype=63))
scf_dcmfb.add(gdstk.Label('& Metric 0', (55.91,-6.18), layer=63, texttype=63))
scf_dcmfb.add(gdstk.Label('& _PublicCode', (55.91,-17.18), layer=63, texttype=63))
scf_dcmfb.add(gdstk.Label('& Vendor Mentor', (55.91,-17.18), layer=63, texttype=63))
scf_dcmfb.add(gdstk.Label('& Product UMC180FDKMFM', (55.91,-17.18), layer=63, texttype=63))
scf_dcmfb.add(gdstk.Label('& Version A01', (55.91,-17.18), layer=63, texttype=63))
scf_dcmfb.add(gdstk.Label('& Metric 0', (55.91,-17.18), layer=63, texttype=63))
scf_dcmfb.add(gdstk.Label('& _PublicCode', (55.91,-40.95), layer=63, texttype=63))
scf_dcmfb.add(gdstk.Label('& Vendor Mentor', (55.91,-40.95), layer=63, texttype=63))
scf_dcmfb.add(gdstk.Label('& Product UMC180FDKMFM', (55.91,-40.95), layer=63, texttype=63))
scf_dcmfb.add(gdstk.Label('& Version A01', (55.91,-40.95), layer=63, texttype=63))
scf_dcmfb.add(gdstk.Label('& Metric 0', (55.91,-40.95), layer=63, texttype=63))
scf_dcmfb.add(gdstk.Label('& _PublicCode', (37.98,-29.95), layer=63, texttype=63))
scf_dcmfb.add(gdstk.Label('& Vendor Mentor', (37.98,-29.95), layer=63, texttype=63))
scf_dcmfb.add(gdstk.Label('& Product UMC180FDKMFM', (37.98,-29.95), layer=63, texttype=63))
scf_dcmfb.add(gdstk.Label('& Version A01', (37.98,-29.95), layer=63, texttype=63))
scf_dcmfb.add(gdstk.Label('& Metric 0', (37.98,-29.95), layer=63, texttype=63))
scf_dcmfb.add(gdstk.Label('& _PublicCode', (37.98,-40.95), layer=63, texttype=63))
scf_dcmfb.add(gdstk.Label('& Vendor Mentor', (37.98,-40.95), layer=63, texttype=63))
scf_dcmfb.add(gdstk.Label('& Product UMC180FDKMFM', (37.98,-40.95), layer=63, texttype=63))
scf_dcmfb.add(gdstk.Label('& Version A01', (37.98,-40.95), layer=63, texttype=63))
scf_dcmfb.add(gdstk.Label('& Metric 0', (37.98,-40.95), layer=63, texttype=63))
scf_dcmfb.add(gdstk.Label('& _PublicCode', (55.91,-29.95), layer=63, texttype=63))
scf_dcmfb.add(gdstk.Label('& Vendor Mentor', (55.91,-29.95), layer=63, texttype=63))
scf_dcmfb.add(gdstk.Label('& Product UMC180FDKMFM', (55.91,-29.95), layer=63, texttype=63))
scf_dcmfb.add(gdstk.Label('& Version A01', (55.91,-29.95), layer=63, texttype=63))
scf_dcmfb.add(gdstk.Label('& Metric 0', (55.91,-29.95), layer=63, texttype=63))
scf_dcmfb.add(gdstk.Label('& _PublicCode', (37.98,-6.18), layer=63, texttype=63))
scf_dcmfb.add(gdstk.Label('& Vendor Mentor', (37.98,-6.18), layer=63, texttype=63))
scf_dcmfb.add(gdstk.Label('& Product UMC180FDKMFM', (37.98,-6.18), layer=63, texttype=63))
scf_dcmfb.add(gdstk.Label('& Version A01', (37.98,-6.18), layer=63, texttype=63))
scf_dcmfb.add(gdstk.Label('& Metric 0', (37.98,-6.18), layer=63, texttype=63))
scf_dcmfb.add(gdstk.Label('Vo-', (48.66,-37.79), layer=104, texttype=0))
scf_dcmfb.add(gdstk.Label('CMFB', (56.69,-23.57), layer=104, texttype=0))
scf_dcmfb.add(gdstk.Label('Vo+', (48.66,-9.34), layer=104, texttype=0))
scf_dcmfb.add(gdstk.Label('Vocm', (28.32,-23.565), layer=104, texttype=0))
scf_dcmfb.add(gdstk.Label('Vb1', (29.23,-23.565), layer=104, texttype=0))
scf_dcmfb.add(gdstk.Label('phi1', (44,-23.485), layer=104, texttype=0))
scf_dcmfb.add(gdstk.Label('phi2', (25.91,-23.565), layer=104, texttype=0))
scf_dcmfb.add(gdstk.Label('AGnd', (52.79,-23.565), layer=101, texttype=0))
scf_dcmfb.add(gdstk.Label('AVdd', (22.13,-23.565), layer=101, texttype=0))

lib.write_gds('SCF_dcmfb.gds')
